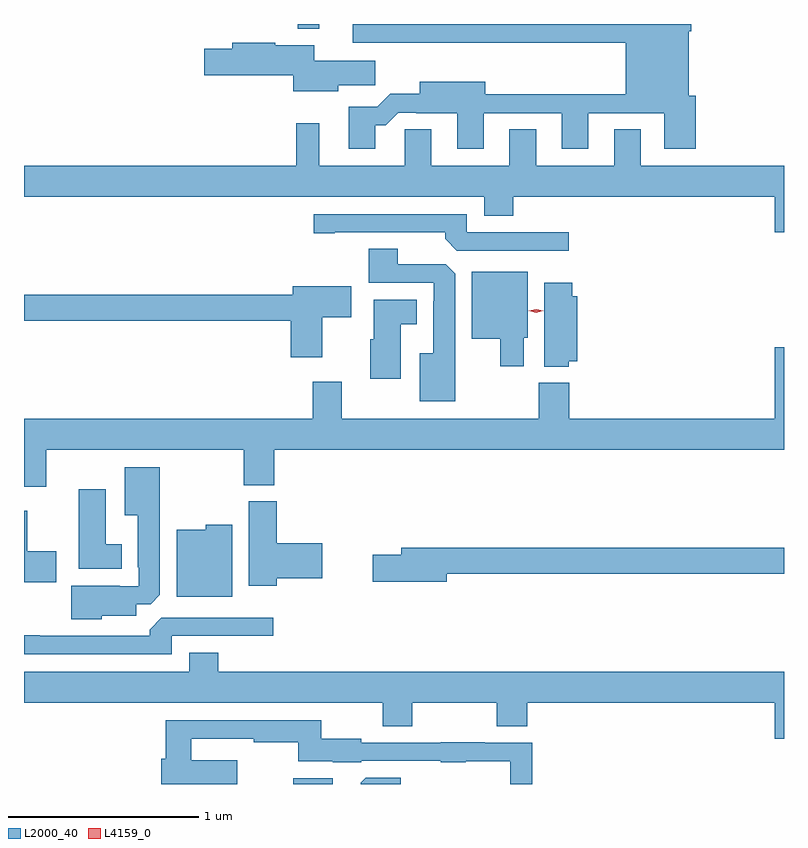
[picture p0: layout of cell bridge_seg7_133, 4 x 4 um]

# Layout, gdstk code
import gdstk
lib = gdstk.Library(unit=1e-6, precision=1e-09)
def R(c, l, rs):  # rectangles x0, y0, x1, y1
    for r in rs: c.add(gdstk.rectangle(r[:2], r[2:], *l))
def P(c, l, *ps):  # polygons
    for p in ps: c.add(gdstk.Polygon(p, *l))
L2000_40 = (2000, 40)
L4159_0 = (4159, 0)

bridge_seg7_133 = lib.new_cell('bridge_seg7_133')
R(bridge_seg7_133, L2000_40, [(737.9,1029.493,738.106,1029.524), (737.923,1033.467,738.037,1033.493)])
P(bridge_seg7_133, L2000_40, [(738.331,1032.959),(738.386,1032.959),(738.453,1033.026),(738.547,1033.026),(738.547,1033.023),(738.761,1033.023),(738.761,1032.837),(738.901,1032.837),(738.901,1033.023),(739.313,1033.023),(739.313,1032.837),(739.453,1032.837),(739.453,1033.023),(739.853,1033.023),(739.853,1032.837),(740.018,1032.837),(740.018,1033.116),(739.981,1033.116),(739.981,1033.454),(739.994,1033.454),(739.994,1033.493),(738.212,1033.493),(738.212,1033.394),(739.649,1033.394),(739.649,1033.124),(738.91,1033.124),(738.91,1033.189),(738.566,1033.189),(738.566,1033.127),(738.41,1033.127),(738.34,1033.057),(738.191,1033.057),(738.191,1032.837),(738.331,1032.837)],
  [(738.136,1033.171),(738.331,1033.171),(738.331,1033.3),(738.01,1033.3),(738.01,1033.381),(737.804,1033.381),(737.804,1033.394),(737.579,1033.394),(737.579,1033.364),(737.43,1033.364),(737.43,1033.222),(737.9,1033.222),(737.9,1033.139),(738.136,1033.139)],
  [(740.482,1032.748),(739.729,1032.748),(739.729,1032.938),(739.589,1032.938),(739.589,1032.748),(739.177,1032.748),(739.177,1032.938),(739.037,1032.938),(739.037,1032.748),(738.625,1032.748),(738.625,1032.938),(738.486,1032.938),(738.486,1032.748),(738.037,1032.748),(738.037,1032.97),(737.916,1032.97),(737.916,1032.748),(736.482,1032.748),(736.482,1032.584),(738.905,1032.584),(738.905,1032.485),(739.058,1032.485),(739.058,1032.584),(740.432,1032.584),(740.432,1032.396),(740.482,1032.396)],
  [(739.348,1032.396),(738.813,1032.396),(738.813,1032.492),(738.006,1032.492),(738.006,1032.391),(738.118,1032.391),(738.118,1032.396),(738.698,1032.396),(738.698,1032.362),(738.759,1032.3),(739.348,1032.3)],
  [(738.751,1032.179),(738.702,1032.228),(738.448,1032.228),(738.448,1032.311),(738.296,1032.311),(738.296,1032.132),(738.639,1032.132),(738.639,1032.035),(738.635,1032.035),(738.635,1031.761),(738.566,1031.761),(738.566,1031.507),(738.751,1031.507)],
  [(739.111,1031.841),(739.132,1031.841),(739.132,1032.19),(738.839,1032.19),(738.839,1031.837),(738.989,1031.837),(738.989,1031.691),(739.111,1031.691)],
  [(739.35,1031.717),(739.393,1031.717),(739.393,1032.061),(739.367,1032.061),(739.367,1032.132),(739.22,1032.132),(739.22,1031.69),(739.35,1031.69)],
  [(738.052,1031.95),(738.205,1031.95),(738.205,1032.112),(737.897,1032.112),(737.897,1032.068),(736.482,1032.068),(736.482,1031.932),(737.885,1031.932),(737.885,1031.739),(738.052,1031.739)],
  [(738.466,1031.912),(738.55,1031.912),(738.55,1032.043),(738.323,1032.043),(738.323,1031.835),(738.305,1031.835),(738.305,1031.625),(738.466,1031.625)],
  [(736.6,1031.252),(737.638,1031.252),(737.638,1031.065),(737.798,1031.065),(737.798,1031.252),(740.482,1031.252),(740.482,1031.791),(740.432,1031.791),(740.432,1031.416),(739.352,1031.416),(739.352,1031.605),(739.192,1031.605),(739.192,1031.416),(738.154,1031.416),(738.154,1031.611),(738.002,1031.611),(738.002,1031.416),(736.482,1031.416),(736.482,1031.058),(736.6,1031.058)],
  [(736.89,1030.379),(737.074,1030.379),(737.074,1030.44),(737.148,1030.44),(737.197,1030.489),(737.197,1031.161),(737.012,1031.161),(737.012,1030.907),(737.081,1030.907),(737.081,1030.633),(737.085,1030.633),(737.085,1030.533),(736.985,1030.533),(736.985,1030.537),(736.73,1030.537),(736.73,1030.361),(736.89,1030.361)],
  [(736.996,1030.756),(736.912,1030.756),(736.912,1031.044),(736.769,1031.044),(736.769,1030.625),(736.996,1030.625)],
  [(737.813,1030.577),(738.052,1030.577),(738.052,1030.76),(737.813,1030.76),(737.813,1030.98),(737.666,1030.98),(737.666,1030.536),(737.813,1030.536)],
  [(736.651,1030.719),(736.498,1030.719),(736.498,1030.93),(736.482,1030.93),(736.482,1030.556),(736.651,1030.556)],
  [(737.578,1030.858),(737.439,1030.858),(737.439,1030.831),(737.285,1030.831),(737.285,1030.478),(737.578,1030.478)],
  [(738.706,1030.6),(740.482,1030.6),(740.482,1030.736),(738.467,1030.736),(738.467,1030.7),(738.318,1030.7),(738.318,1030.558),(738.706,1030.558)],
  [(737.259,1030.272),(737.794,1030.272),(737.794,1030.368),(737.205,1030.368),(737.144,1030.306),(737.144,1030.272),(736.564,1030.272),(736.564,1030.277),(736.482,1030.277),(736.482,1030.176),(737.259,1030.176)],
  [(738.37,1029.796),(738.525,1029.796),(738.525,1029.92),(738.97,1029.92),(738.97,1029.796),(739.13,1029.796),(739.13,1029.92),(740.432,1029.92),(740.432,1029.732),(740.482,1029.732),(740.482,1030.084),(737.504,1030.084),(737.504,1030.183),(737.351,1030.183),(737.351,1030.084),(736.482,1030.084),(736.482,1029.92),(738.37,1029.92)],
  [(737.605,1029.619),(737.363,1029.619),(737.363,1029.732),(737.692,1029.732),(737.692,1029.712),(737.925,1029.712),(737.925,1029.614),(738.108,1029.614),(738.108,1029.608),(738.258,1029.608),(738.258,1029.615),(738.675,1029.615),(738.675,1029.608),(738.807,1029.608),(738.807,1029.614),(739.041,1029.614),(739.041,1029.493),(739.157,1029.493),(739.157,1029.711),(738.907,1029.711),(738.907,1029.713),(738.675,1029.713),(738.675,1029.711),(738.258,1029.711),(738.258,1029.73),(738.046,1029.73),(738.046,1029.828),(737.227,1029.828),(737.227,1029.627),(737.204,1029.627),(737.204,1029.493),(737.605,1029.493)],
  [(738.466,1029.526),(738.28,1029.526),(738.254,1029.5),(738.254,1029.493),(738.466,1029.493)])
P(bridge_seg7_133, L4159_0, [(739.177,1031.973),(739.139,1031.983),(739.139,1031.983),(739.139,1031.984),(739.177,1031.993),(739.215,1031.984),(739.215,1031.983),(739.215,1031.983)])

lib.write_gds('bridge_seg7_133.gds')
